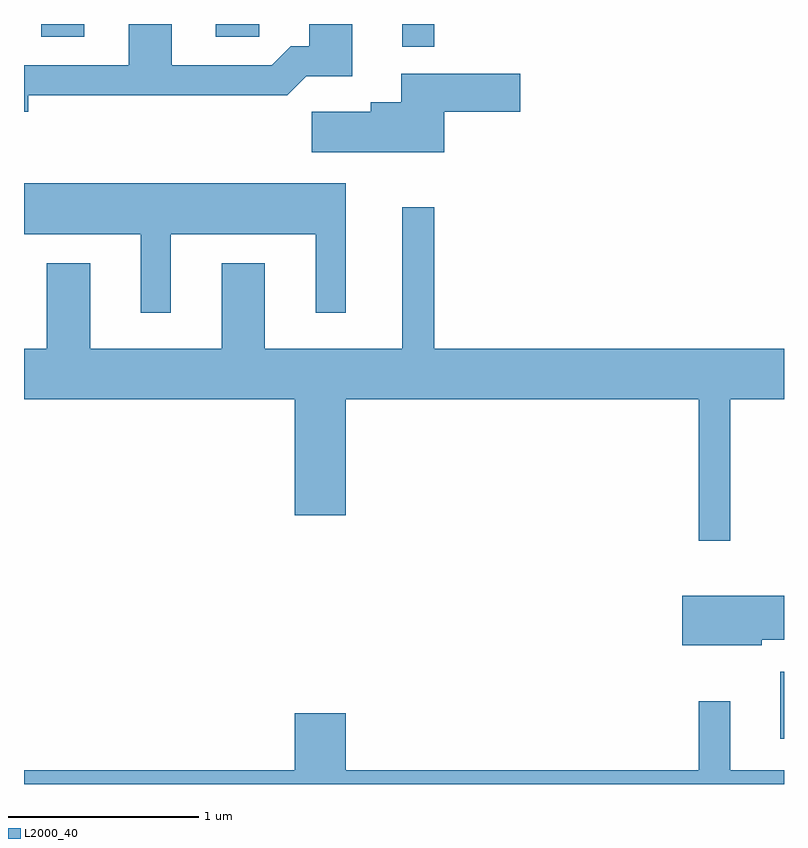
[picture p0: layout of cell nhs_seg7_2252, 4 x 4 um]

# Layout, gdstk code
import gdstk
lib = gdstk.Library(unit=1e-6, precision=1e-09)
def R(c, l, rs):  # rectangles x0, y0, x1, y1
    for r in rs: c.add(gdstk.rectangle(r[:2], r[2:], *l))
def P(c, l, *ps):  # polygons
    for p in ps: c.add(gdstk.Polygon(p, *l))
L2000_40 = (2000, 40)

nhs_seg7_2252 = lib.new_cell('nhs_seg7_2252')
R(nhs_seg7_2252, L2000_40, [(257.591,1752.491,257.611,1752.844), (255.601,1756.133,255.769,1756.252), (253.701,1756.186,253.929,1756.252), (254.621,1756.186,254.849,1756.252)])
P(nhs_seg7_2252, L2000_40, [(253.634,1755.876),(254.997,1755.876),(255.097,1755.976),(255.339,1755.976),(255.339,1756.252),(255.111,1756.252),(255.111,1756.134),(255.014,1756.134),(254.914,1756.034),(254.389,1756.034),(254.389,1756.252),(254.161,1756.252),(254.161,1756.034),(253.611,1756.034),(253.611,1755.791),(253.634,1755.791)],
  [(255.824,1755.791),(256.224,1755.791),(256.224,1755.989),(255.596,1755.989),(255.596,1755.839),(255.436,1755.839),(255.436,1755.789),(255.126,1755.789),(255.126,1755.576),(255.824,1755.576)],
  [(254.384,1755.146),(255.146,1755.146),(255.146,1754.733),(255.304,1754.733),(255.304,1755.414),(253.611,1755.414),(253.611,1755.146),(254.226,1755.146),(254.226,1754.733),(254.384,1754.733)],
  [(257.329,1754.276),(257.611,1754.276),(257.611,1754.544),(255.769,1754.544),(255.769,1755.288),(255.601,1755.288),(255.601,1754.544),(254.879,1754.544),(254.879,1754.994),(254.651,1754.994),(254.651,1754.544),(253.959,1754.544),(253.959,1754.994),(253.731,1754.994),(253.731,1754.544),(253.611,1754.544),(253.611,1754.276),(255.036,1754.276),(255.036,1753.666),(255.304,1753.666),(255.304,1754.276),(257.161,1754.276),(257.161,1753.533),(257.329,1753.533)],
  [(257.494,1753.011),(257.611,1753.011),(257.611,1753.244),(257.076,1753.244),(257.076,1752.981),(257.494,1752.981)],
  [(257.611,1752.324),(257.329,1752.324),(257.329,1752.688),(257.161,1752.688),(257.161,1752.324),(255.304,1752.324),(255.304,1752.624),(255.036,1752.624),(255.036,1752.324),(253.611,1752.324),(253.611,1752.252),(257.611,1752.252)])

lib.write_gds('nhs_seg7_2252.gds')
